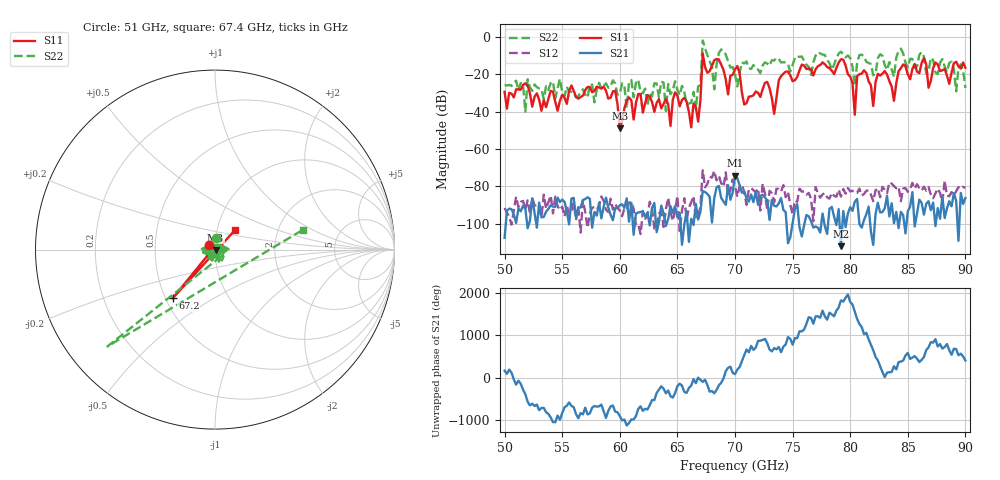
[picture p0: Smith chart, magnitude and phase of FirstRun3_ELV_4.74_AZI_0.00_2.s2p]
! 11/24/2026 3:28:21 PM
! C:\ANRITSUVNA\TEMP\TEMP.S2P
! CHANNEL.1
! TR.MEASUREMENT
! RAW.DATA
# HZ S RI R 50.0
! FREQ.HZ  S11RE  S11IM  S21RE  S21IM  S12RE  S12IM  S22RE  S22IM
!; PortSelection: Port_12
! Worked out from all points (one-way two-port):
!   201 points, 50 GHz to 90 GHz, reference 50 ohm
!   highest |S21| = -74.23 dB at 70 GHz (marker M1); lowest = -112.0 dB at 79.2 GHz (marker M2)
!   lowest |S11| = -48.9 dB at 60 GHz (marker M3), VSWR 1.01, Z = 50.3 - j0.16 ohm
!   |S11| at or under -10 dB: start of sweep to 67.19 GHz; 67.23 GHz to end of sweep
!   |S22| runs from -40.0 to -1.9 dB; largest |S21 - S12| = 0.00026
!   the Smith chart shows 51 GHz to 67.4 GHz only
!   S11 on the Smith chart (normalised r, x): 51 GHz: 0.94, +0.05; 67.2 GHz: 0.54, -0.34; 67.4 GHz: 1.22, +0.27
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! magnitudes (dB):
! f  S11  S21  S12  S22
! 50 GHz  -29.4  -107.6  -91.6  -25.6
! 51 GHz  -28.0  -99.6  -85.5  -23.4
! 51.8 GHz  -24.8  -92.1  -92.4  -40.0
! 52 GHz  -26.0  -102.4  -87.5  -22.7
! 56.8 GHz  -31.4  -87.2  -87.5  -28.0
! 59.6 GHz  -28.8  -91.8  -89.4  -25.0
! 60 GHz  -48.9  -90.2  -92.8  -30.5
! 63.4 GHz  -33.4  -99.1  -94.6  -32.6
! 66.8 GHz  -45.3  -97.8  -96.5  -26.5
! 67.2 GHz  -8.9  -82.6  -71.4  -1.9
! 67.4 GHz  -16.1  -83.0  -80.5  -5.9
! 68.2 GHz  -12.5  -86.2  -71.7  -28.0
! 68.8 GHz  -14.8  -86.2  -78.3  -6.7
! 70 GHz  -17.4  -74.2  -79.7  -19.9
! 73.4 GHz  -41.2  -90.4  -88.4  -12.6
! 74.2 GHz  -19.7  -92.6  -79.3  -13.5
! 76.8 GHz  -20.6  -102.1  -98.7  -13.7
! 79.2 GHz  -11.9  -112.0  -85.5  -7.9
! 80.4 GHz  -41.6  -88.3  -83.6  -26.3
! 80.6 GHz  -21.0  -86.7  -83.5  -14.0
! 83.4 GHz  -23.7  -96.1  -77.9  -13.5
! 90 GHz  -16.5  -86.3  -80.9  -27.3
